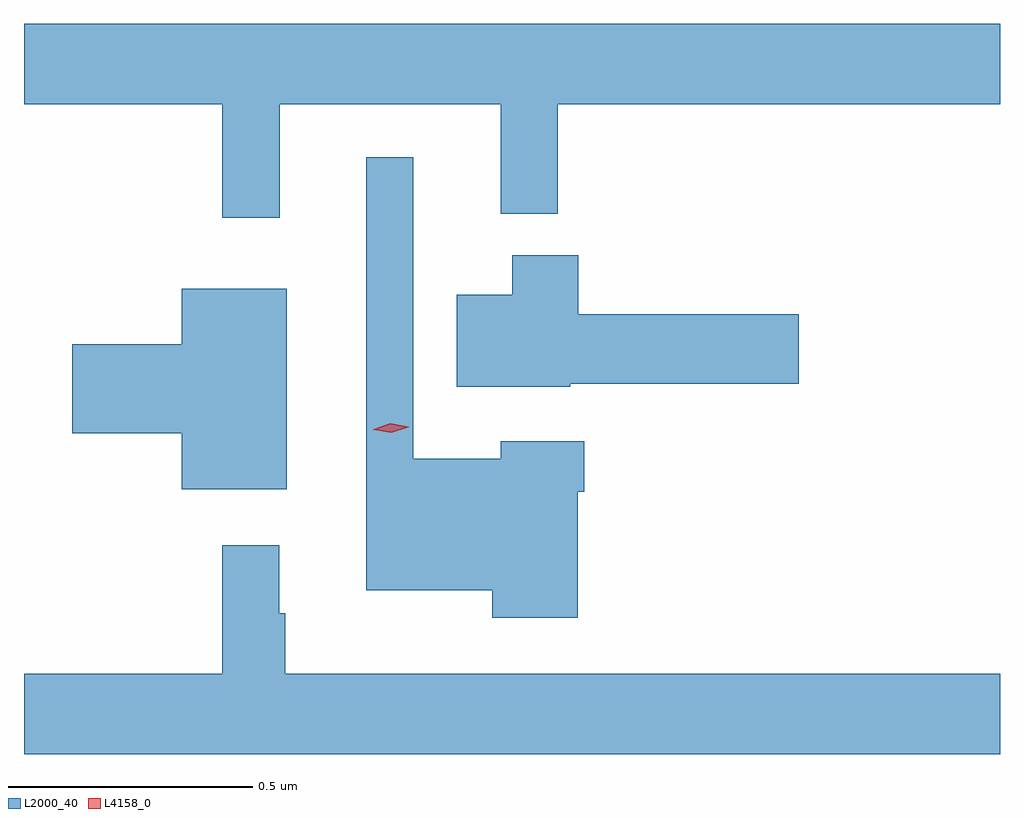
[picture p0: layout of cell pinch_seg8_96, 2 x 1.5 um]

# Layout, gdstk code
import gdstk
lib = gdstk.Library(unit=1e-6, precision=1e-09)
def P(c, l, *ps):  # polygons
    for p in ps: c.add(gdstk.Polygon(p, *l))
L2000_40 = (2000, 40)
L4158_0 = (4158, 0)

pinch_seg8_96 = lib.new_cell('pinch_seg8_96')
P(pinch_seg8_96, L2000_40, [(1044.899,1123.16),(1045.352,1123.16),(1045.352,1122.935),(1045.469,1122.935),(1045.469,1123.16),(1046.375,1123.16),(1046.375,1123.324),(1044.375,1123.324),(1044.375,1123.16),(1044.781,1123.16),(1044.781,1122.927),(1044.899,1122.927)],
  [(1045.51,1122.365),(1045.523,1122.365),(1045.523,1122.469),(1045.352,1122.469),(1045.352,1122.433),(1045.173,1122.433),(1045.173,1123.051),(1045.076,1123.051),(1045.076,1122.164),(1045.335,1122.164),(1045.335,1122.107),(1045.51,1122.107)],
  [(1045.494,1122.587),(1045.963,1122.587),(1045.963,1122.729),(1045.511,1122.729),(1045.511,1122.85),(1045.376,1122.85),(1045.376,1122.769),(1045.262,1122.769),(1045.262,1122.581),(1045.494,1122.581)],
  [(1044.913,1122.781),(1044.698,1122.781),(1044.698,1122.668),(1044.474,1122.668),(1044.474,1122.485),(1044.698,1122.485),(1044.698,1122.371),(1044.913,1122.371)],
  [(1046.375,1121.992),(1044.91,1121.992),(1044.91,1122.116),(1044.898,1122.116),(1044.898,1122.256),(1044.781,1122.256),(1044.781,1121.992),(1044.375,1121.992),(1044.375,1121.828),(1046.375,1121.828)])
P(pinch_seg8_96, L4158_0, [(1045.128,1122.486),(1045.092,1122.493),(1045.091,1122.493),(1045.092,1122.494),(1045.126,1122.506),(1045.162,1122.499),(1045.163,1122.498),(1045.162,1122.498)])

lib.write_gds('pinch_seg8_96.gds')
